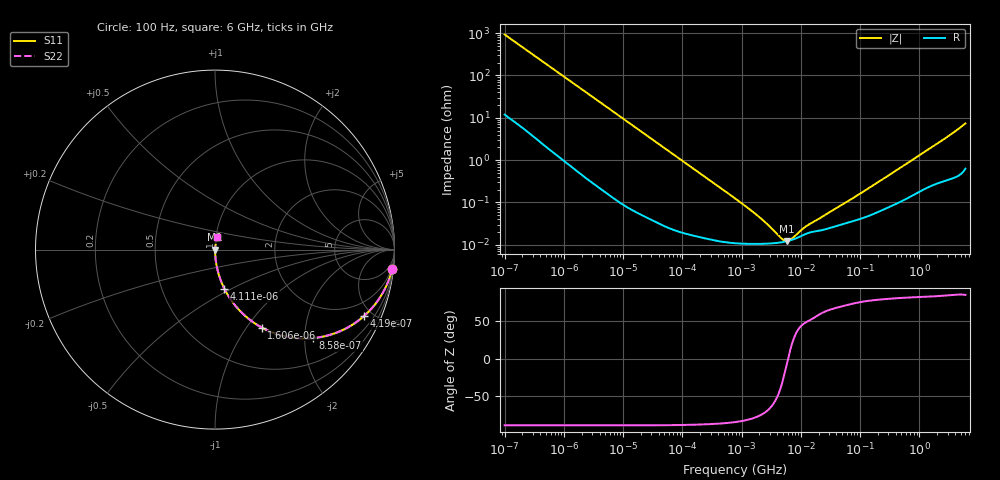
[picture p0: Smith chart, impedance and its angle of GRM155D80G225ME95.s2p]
!Murata Part Number: GRM155D80G225ME95
!These Parameters are Measured in Series Mode Connection
!Data Generated on Mar 30, 2021
!  o--ll--o
!Port1  Port2
!  o------o
!Operation Temp=25[degC], DC Bias Voltage=0[V]
!Freq. Start=100[Hz] Stop=6[GHz] 401[Steps]
# Hz S RI R 50
!Freq.(Hz) S11(Real) S11(Imag) S21(Real) S21(Imag) S12(Real) S12(Imag) S22(Real) S22(Imag)
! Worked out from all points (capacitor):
!   401 points, 100 Hz to 6 GHz, reference 50 ohm
!   read as one part in series: C = 1.71 uF near 109 Hz
!   lowest |Z| = 12.2 mohm at 5.809 MHz (marker M1)
!   series resonance near 6.101 MHz, so ESL is about 400 pH
!   S11 on the Smith chart (normalised r, x): 100 Hz: 1, -19; 419 Hz: 1.05, -4.48; 858 Hz: 1.02, -2.20; 1.606 kHz: 1.01, -1.18; 4.111 kHz: 1.00, -0.46; 6 GHz: 1.01, +0.15
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100  0.9872 -0.1061  0.0128 0.1061  0.0128 0.1061  0.9872 -0.1061
224  0.9433 -0.2252  0.0567 0.2252  0.0567 0.2252  0.9433 -0.2252
419  0.8314 -0.3688  0.1686 0.3688  0.1686 0.3688  0.8314 -0.3688
600  0.7097 -0.4486  0.2903 0.4486  0.2903 0.4486  0.7097 -0.4486
858  0.5474 -0.4926  0.4526 0.4926  0.4526 0.4926  0.5474 -0.4926
1174  0.3949 -0.4839  0.6051 0.4839  0.6051 0.4839  0.3949 -0.4839
1606  0.2605 -0.4341  0.7395 0.4341  0.7395 0.4341  0.2605 -0.4341
2008  0.1849 -0.3835  0.8151 0.3835  0.8151 0.3835  0.1849 -0.3835
2873  0.1009 -0.2966  0.8991 0.2966  0.8991 0.2966  0.1009 -0.2966
4111  0.0528 -0.2191  0.9472 0.2191  0.9472 0.2191  0.0528 -0.2191
11009  0.0083 -0.0862  0.9917 0.0862  0.9917 0.0862  0.0083 -0.0862
40335  0.000888 -0.0239  0.9991 0.0239  0.9991 0.0239  0.000888 -0.0239
774597  0.000111 -0.00125  0.9999 0.00125  0.9999 0.00125  0.000111 -0.00125
2169299  0.000106 -0.000395  0.9999 0.000395  0.9999 0.000395  0.000106 -0.000395
4643984  0.000114 -8.77e-05  0.9999 8.77e-05  0.9999 8.77e-05  0.000114 -8.77e-05
5809218  0.000121 -1.54e-05  0.9999 1.54e-05  0.9999 1.54e-05  0.000121 -1.54e-05
6948629  0.00013 4.05e-05  0.9999 -4.05e-05  0.9999 -4.05e-05  0.00013 4.05e-05
1.087309e7  0.000169 0.000173  0.9998 -0.000173  0.9998 -0.000173  0.000169 0.000173
1.555665e7  0.000202 0.000268  0.9998 -0.000268  0.9998 -0.000268  0.000202 0.000268
3.124326e8  0.000803 0.0044  0.9992 -0.0044  0.9992 -0.0044  0.000803 0.0044
1.95892e9  0.00332 0.0236  0.9967 -0.0236  0.9967 -0.0236  0.00332 0.0236
6e9  0.0115 0.0722  0.9885 -0.0722  0.9885 -0.0722  0.0115 0.0722
